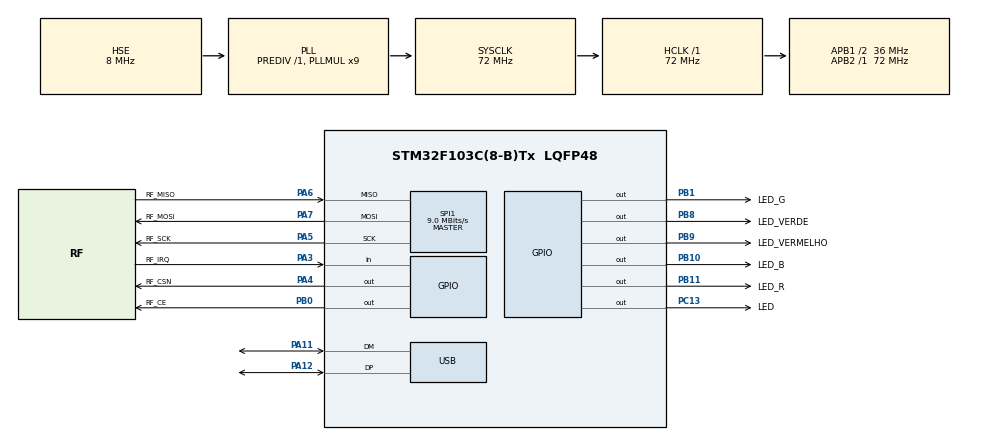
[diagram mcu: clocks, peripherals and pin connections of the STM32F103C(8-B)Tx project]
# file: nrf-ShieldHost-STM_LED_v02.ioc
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Mcu.Family=STM32F1
Mcu.Name=STM32F103C(8-B)Tx
Mcu.Package=LQFP48
NVIC.PriorityGroup=NVIC_PRIORITYGROUP_4
NVIC.USB_LP_CAN1_RX0_IRQn=true\:0\:0\:false\:false\:true\:false\:true
PA11.Mode=Device
PA11.Signal=USB_DM
PA12.Mode=Device
PA12.Signal=USB_DP
PA13.Mode=Serial_Wire
PA13.Signal=SYS_JTMS-SWDIO
PA14.Mode=Serial_Wire
PA14.Signal=SYS_JTCK-SWCLK
PA3.GPIO_Label=RF_IRQ
PA3.Signal=GPIO_Input
PA4.GPIO_Label=RF_CSN
PA4.Signal=GPIO_Output
PA5.GPIO_Label=RF_SCK
PA5.Mode=Full_Duplex_Master
PA5.Signal=SPI1_SCK
PA6.GPIO_Label=RF_MISO
PA6.Mode=Full_Duplex_Master
PA6.Signal=SPI1_MISO
PA7.GPIO_Label=RF_MOSI
PA7.Mode=Full_Duplex_Master
PA7.Signal=SPI1_MOSI
PB0.GPIO_Label=RF_CE
PB0.Signal=GPIO_Output
PB1.GPIO_Label=LED_G
PB1.Signal=GPIO_Output
PB10.GPIO_Label=LED_B
PB10.Signal=GPIO_Output
PB11.GPIO_Label=LED_R
PB11.Signal=GPIO_Output
PB8.GPIO_Label=LED_VERDE
PB8.Signal=GPIO_Output
PB9.GPIO_Label=LED_VERMELHO
PB9.Signal=GPIO_Output
PC13-TAMPER-RTC.GPIO_Label=LED
PC13-TAMPER-RTC.Signal=GPIO_Output
PD0-OSC_IN.Mode=HSE-External-Oscillator
PD0-OSC_IN.Signal=RCC_OSC_IN
PD1-OSC_OUT.Mode=HSE-External-Oscillator
PD1-OSC_OUT.Signal=RCC_OSC_OUT
ProjectManager.HeapSize=0x200
ProjectManager.StackSize=0x400
ProjectManager.TargetToolchain=STM32CubeIDE
RCC.AHBFreq_Value=72000000
RCC.APB1CLKDivider=RCC_HCLK_DIV2
RCC.APB1Freq_Value=36000000
RCC.APB1TimFreq_Value=72000000
RCC.APB2Freq_Value=72000000
RCC.APB2TimFreq_Value=72000000
RCC.HCLKFreq_Value=72000000
RCC.PLLMUL=RCC_PLL_MUL9
RCC.SYSCLKFreq_VALUE=72000000
RCC.SYSCLKSource=RCC_SYSCLKSOURCE_PLLCLK
RCC.USBFreq_Value=48000000
RCC.USBPrescaler=RCC_USBCLKSOURCE_PLL_DIV1_5
SPI1.BaudRatePrescaler=SPI_BAUDRATEPRESCALER_8
SPI1.CalculateBaudRate=9.0 MBits/s
SPI1.Direction=SPI_DIRECTION_2LINES
SPI1.Mode=SPI_MODE_MASTER
SPI1.VirtualType=VM_MASTER
USB_DEVICE.CLASS_NAME_FS=CDC
USB_DEVICE.PRODUCT_STRING_CDC_FS=MIP_RF-SHIELD
USB_DEVICE.VirtualMode=Cdc
USB_DEVICE.VirtualModeFS=Cdc_FS
VP_USB_DEVICE_VS_USB_DEVICE_CDC_FS.Mode=CDC_FS
board=custom

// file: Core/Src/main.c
/* USER CODE BEGIN Header */
/**
  ******************************************************************************
  * @file           : main.c
  * @brief          : Main program body
  ******************************************************************************
  * @attention
  *
  * <h2><center>&copy; Copyright (c) 2019 STMicroelectronics.
  * All rights reserved.</center></h2>
  *
  * This software component is licensed by ST under BSD 3-Clause license,
  * the "License"; You may not use this file except in compliance with the
  * License. You may obtain a copy of the License at:
  *                        opensource.org/licenses/BSD-3-Clause
  *
  ******************************************************************************
  */
/* USER CODE END Header */
#include "main.h"
#include "usb_device.h"

/* USER CODE BEGIN Includes */
#include "usbd_cdc_if.h"
#include "dwt_stm32_delay.h"
#include "ledControl.h"
/* USER CODE END Includes */

/* USER CODE BEGIN PD */
#define nRF_Canal 92
#define NUM_CHARS 256
/* USER CODE END PD */

SPI_HandleTypeDef hspi1;

void SystemClock_Config(void);
static void MX_GPIO_Init(void);
static void MX_SPI1_Init(void);
/* USER CODE BEGIN PFP */

void rfSendBuffer(uint8_t *buffer2send, uint8_t buffer_size);
void get_Msg_fromHost(void);	// Read messages from Host
void tx_task(void);		// Verifies if there is any message from Host and send to MIP
void rx_task(void);		// Receive message from MIP and send to Host
void IRQ_read(void);	// Reads the IRQ pin
void waitForIRQ(void);	// Stop the program until the IRQ pin is read as 0

uint8_t convert2ascii(uint8_t num);	// Test function
void printAscii(uint8_t byte);		// Test function
/* USER CODE END PFP */

/* USER CODE BEGIN 0 */
uint8_t rx_buf[PAYLOAD_WIDTH];
uint8_t rx_payloadWidth = 0;
uint8_t rx_newPayload = 0;
const char endMsgChar = '\0'; 		//Messages ending character (from Host)
uint8_t rf_tx_buffer[NUM_CHARS] = {0};
int rf_tx_buffer_count = 0;
uint8_t rf_tx_SendMsg = 0;
uint8_t rfBridgeON = 0;				// Flag de ponte
uint8_t rx_newData = 0;

uint8_t autoAck_enabled = 1;	// Activates the Auto Acknowledgment function

/* USER CODE END 0 */

int main(void)
{

  /* MCU Configuration--------------------------------------------------------*/

  /* Reset of all peripherals, Initializes the Flash interface and the Systick. */
  HAL_Init();

  /* Configure the system clock */
  SystemClock_Config();

  /* Initialize all configured peripherals */
  MX_GPIO_Init();
  MX_SPI1_Init();
  MX_USB_DEVICE_Init();
  /* USER CODE BEGIN 2 */
  DWT_Delay_Init ();
  init_led(LED_R_Pin, GPIOB, LED_G_Pin, GPIOB,LED_B_Pin, GPIOB);
  acende_led(RED);
  HAL_Delay(500);

  nRFint_guard = 0;		// Do not execute interruptions until the nRF initalization is complete
  rf_tx_buffer_count = 0;
  rf_tx_SendMsg = 0;
  rfBridgeON = 0;   	// Don't transfer data via RF until the Handshake HOST <-> STM is complete

  nRF24L01_STM32(hspi1); // Set the SPI parameters for the nRF library

  // Initiate the nRF with the channel, data rate and tx power parameters
  init(nRF_Canal, RF_DATA_RATE_1Mbps, RF_TX_POWER_0dBm, autoAck_enabled);
  rx_newPayload = 0;
  nRFint_guard = 1; //Liberar execução da interrupção externa
  apaga_led();

  /* USER CODE END 2 */

  /* Infinite loop */
  while (1)
  {

    /* USER CODE BEGIN 3 */
	if(rfBridgeON)
      acende_led(GREEN);
    else
      acende_led(CYAN);

	  get_Msg_fromHost();	// Read the messages from the host received via USB

	  IRQ_read();

	  tx_task();	// If there is message from the Host, read correctly by get_Msg_fromHost(), it's
	  	  	  	  	//  sent to the MIP via RF

	  rx_task();  	// Verifies if package arrived from the MIP (via RF) and send it to the Host via COM port.

  }
  /* USER CODE END 3 */
}

void SystemClock_Config(void)
{
  RCC_OscInitTypeDef RCC_OscInitStruct = {0};
  RCC_ClkInitTypeDef RCC_ClkInitStruct = {0};
  RCC_PeriphCLKInitTypeDef PeriphClkInit = {0};

  /** Initializes the RCC Oscillators according to the specified parameters
  * in the RCC_OscInitTypeDef structure.
  */
  RCC_OscInitStruct.OscillatorType = RCC_OSCILLATORTYPE_HSE;
  RCC_OscInitStruct.HSEState = RCC_HSE_ON;
  RCC_OscInitStruct.HSEPredivValue = RCC_HSE_PREDIV_DIV1;
  RCC_OscInitStruct.HSIState = RCC_HSI_ON;
  RCC_OscInitStruct.PLL.PLLState = RCC_PLL_ON;
  RCC_OscInitStruct.PLL.PLLSource = RCC_PLLSOURCE_HSE;
  RCC_OscInitStruct.PLL.PLLMUL = RCC_PLL_MUL9;
  if (HAL_RCC_OscConfig(&RCC_OscInitStruct) != HAL_OK)
  {
    Error_Handler();
  }
  /** Initializes the CPU, AHB and APB buses clocks
  */
  RCC_ClkInitStruct.ClockType = RCC_CLOCKTYPE_HCLK|RCC_CLOCKTYPE_SYSCLK
                              |RCC_CLOCKTYPE_PCLK1|RCC_CLOCKTYPE_PCLK2;
  RCC_ClkInitStruct.SYSCLKSource = RCC_SYSCLKSOURCE_PLLCLK;
  RCC_ClkInitStruct.AHBCLKDivider = RCC_SYSCLK_DIV1;
  RCC_ClkInitStruct.APB1CLKDivider = RCC_HCLK_DIV2;
  RCC_ClkInitStruct.APB2CLKDivider = RCC_HCLK_DIV1;

  if (HAL_RCC_ClockConfig(&RCC_ClkInitStruct, FLASH_LATENCY_2) != HAL_OK)
  {
    Error_Handler();
  }
  PeriphClkInit.PeriphClockSelection = RCC_PERIPHCLK_USB;
  PeriphClkInit.UsbClockSelection = RCC_USBCLKSOURCE_PLL_DIV1_5;
  if (HAL_RCCEx_PeriphCLKConfig(&PeriphClkInit) != HAL_OK)
  {
    Error_Handler();
  }
}

static void MX_SPI1_Init(void)
{

  /* SPI1 parameter configuration*/
  hspi1.Instance = SPI1;
  hspi1.Init.Mode = SPI_MODE_MASTER;
  hspi1.Init.Direction = SPI_DIRECTION_2LINES;
  hspi1.Init.DataSize = SPI_DATASIZE_8BIT;
  hspi1.Init.CLKPolarity = SPI_POLARITY_LOW;
  hspi1.Init.CLKPhase = SPI_PHASE_1EDGE;
  hspi1.Init.NSS = SPI_NSS_SOFT;
  hspi1.Init.BaudRatePrescaler = SPI_BAUDRATEPRESCALER_8;
  hspi1.Init.FirstBit = SPI_FIRSTBIT_MSB;
  hspi1.Init.TIMode = SPI_TIMODE_DISABLE;
  hspi1.Init.CRCCalculation = SPI_CRCCALCULATION_DISABLE;
  hspi1.Init.CRCPolynomial = 10;
  if (HAL_SPI_Init(&hspi1) != HAL_OK)
  {
    Error_Handler();
  }

}

static void MX_GPIO_Init(void)
{
  GPIO_InitTypeDef GPIO_InitStruct = {0};

  /* GPIO Ports Clock Enable */
  __HAL_RCC_GPIOC_CLK_ENABLE();
  __HAL_RCC_GPIOD_CLK_ENABLE();
  __HAL_RCC_GPIOA_CLK_ENABLE();
  __HAL_RCC_GPIOB_CLK_ENABLE();

  /*Configure GPIO pin Output Level */
  HAL_GPIO_WritePin(LED_GPIO_Port, LED_Pin, GPIO_PIN_RESET);

  /*Configure GPIO pin Output Level */
  HAL_GPIO_WritePin(RF_CSN_GPIO_Port, RF_CSN_Pin, GPIO_PIN_RESET);

  /*Configure GPIO pin Output Level */
  HAL_GPIO_WritePin(GPIOB, RF_CE_Pin|LED_G_Pin|LED_B_Pin|LED_R_Pin
                          |LED_VERDE_Pin|LED_VERMELHO_Pin, GPIO_PIN_RESET);

  /*Configure GPIO pin : LED_Pin */
  GPIO_InitStruct.Pin = LED_Pin;
  GPIO_InitStruct.Mode = GPIO_MODE_OUTPUT_PP;
  GPIO_InitStruct.Pull = GPIO_NOPULL;
  GPIO_InitStruct.Speed = GPIO_SPEED_FREQ_LOW;
  HAL_GPIO_Init(LED_GPIO_Port, &GPIO_InitStruct);

  /*Configure GPIO pin : RF_IRQ_Pin */
  GPIO_InitStruct.Pin = RF_IRQ_Pin;
  GPIO_InitStruct.Mode = GPIO_MODE_INPUT;
  GPIO_InitStruct.Pull = GPIO_NOPULL;
  HAL_GPIO_Init(RF_IRQ_GPIO_Port, &GPIO_InitStruct);

  /*Configure GPIO pin : RF_CSN_Pin */
  GPIO_InitStruct.Pin = RF_CSN_Pin;
  GPIO_InitStruct.Mode = GPIO_MODE_OUTPUT_PP;
  GPIO_InitStruct.Pull = GPIO_NOPULL;
  GPIO_InitStruct.Speed = GPIO_SPEED_FREQ_LOW;
  HAL_GPIO_Init(RF_CSN_GPIO_Port, &GPIO_InitStruct);

  /*Configure GPIO pins : RF_CE_Pin LED_G_Pin LED_B_Pin LED_R_Pin
                           LED_VERDE_Pin LED_VERMELHO_Pin */
  GPIO_InitStruct.Pin = RF_CE_Pin|LED_G_Pin|LED_B_Pin|LED_R_Pin
                          |LED_VERDE_Pin|LED_VERMELHO_Pin;
  GPIO_InitStruct.Mode = GPIO_MODE_OUTPUT_PP;
  GPIO_InitStruct.Pull = GPIO_NOPULL;
  GPIO_InitStruct.Speed = GPIO_SPEED_FREQ_LOW;
  HAL_GPIO_Init(GPIOB, &GPIO_InitStruct);

}

/* USER CODE BEGIN 4 */

/**
 * Função de callback chamada toda vez que ocorre ocorre uma interrupção externa (FALLING) no pino IRQ do nRF.
 * Caso o nRFint_guard permita, ela salva o conteúdo recebido pelo RF, salva no rx_buf e ativa a flag rx_newPayload.
 */
/*
void HAL_GPIO_EXTI_Callback(uint16_t GPIO_Pin)
{
  if(GPIO_Pin == RF_IRQ_Pin)
  {
	  // As interrupções já podem ser tratadas?
	  HAL_GPIO_TogglePin(LED_GPIO_Port, LED_Pin);
	  //HAL_Delay(5);
	  if(nRFint_guard > 0)
		  // Salva o conteúdo em rx_buf, a qte de bytes em rx_payloadWidth e ativa a flag rx_newPayload.
		  RF_IRQ(rx_buf, &rx_payloadWidth, &rx_newPayload);
  }
}*/

void IRQ_read()
{
	//HAL_GPIO_TogglePin(LED_GPIO_Port, LED_Pin);
	if( (nRFint_guard > 0) /*&& (HAL_GPIO_ReadPin(RF_IRQ_GPIO_Port, RF_IRQ_Pin) == 0)*/ )
	{
		//HAL_Delay(5);
		RF_IRQ(rx_buf, &rx_payloadWidth, &rx_newPayload);
	}
}

/**
 * Verifica se algum pacote foi recebido pela interrupção e envia ao Host.
 */
void rx_task()
{
    //Verificar se chegou (recebeu) um novo pacote pelo canal RF.
    //(O MIP enviou um pacote para o HOST).
    if (rx_newPayload > 0)  //newPayload setada em IRQ de chegada de novo pacote (RX)
    {

        rx_newPayload = 0; //sdinalizar payload recebida

        if(rx_payloadWidth > 0) //Se a interrupção foi gerado por algum ruído etc, não teremos dados no payload
        {
          //Enviar pacote recebido para o código do HOST (Visual Studio) via serial COMM (USB)
          acende_led(BLUE);
          CDC_Transmit_FS(rx_buf, rx_payloadWidth);
          //DWT_Delay_us(400); // Delay to give NRf time to transmit the ACK packet
          //HAL_Delay(5);
          RX_Mode();
          apaga_led();
        }

    }
}

/**
 *
 * This function is called every time an amount of data arrives at the serial port by the activation of the
 * rx_newData, which is made by the callback function CDC_Receive_FS.
 * This function verifies if the handshake between the STM and de Host (PC) is already been done. Otherwise,
 * it is done in this function and it activates the rx_tx_SendMsg flag that allows redirectioning the messages from
 * the nRF to the Host. If the handshake its already been done, it reads the message from the host (ended with '\0')
 * via COM port and puts it in the RF transmission buffer to the MIP.
 */
void get_Msg_fromHost()
{

    // The rx_newData variable is modified in the callback function called when new data
	//  comes through the serial port (CDC_Receive_FS)

    //Se não estiver enviando mensagem do Buffer TX para o HOST:
    if ((rx_newData == 1) && (rf_tx_SendMsg == 0))
    {
    	int i, rc;
    	rx_newData = 0;
    	//memcpy(rf_tx_buffer, buf, len); // Salva os dados do vetor buf em rf_tx_buffer
    	//rf_tx_buffer_count = len;		// Salva a qte de bytes de len em rf_tx_buffer_count

    	// Pega o último byte de rf_tx_buffer e salva em rc
        rc = rf_tx_buffer[rf_tx_buffer_count - 1];

        //O último caractere (rc) é o indicador de final de mensagem ('\0')?
        if (rc == endMsgChar)
        {

            //A mensagem termina com '\0' -- terminador de mensagens enviadas pelo HOST;

            //Estamos em fase de handshake initial Host <-> STM?
            if(rfBridgeON)
            {

            	//CDC_Transmit_FS(rf_tx_buffer, rf_tx_buffer_count);
				//HAL_Delay(10);
              //NÃO - Arduino é apenas um ponte entre HOST e Transceiver RF.
              //Portanto, o que chega ao uC deve ser retransmitido ao MIP via RF.
              // ==> Sinalizar execução do estado para transmissão desta msg para o MIP via RF.
              rf_tx_SendMsg = 1;
              return;
            }
            else
            {
            	// HANDSHAKE  HOST <-> STM
                //Esta é a primeira mensagem recebido (contém terminador '\0').
                //
                //1 - Todos os dados que chegarem pela COM para o STM antes da chegada de MIPCOM_READY ("RDY") serão ignorados.
                //      2 - Ao receber o primeiro MIPCOM_READY ("RDY") o STM retorna pela COM para o HOST "RDYOK" - O Host irá
                //          ler ou tentar ler esta mensagem (que pode estar corrompida ou nem mesmo chegar ao Host (C#).
                //
                //Neste primeiro momento, a mensagem em rf_tx_buffer pode conter apenas lixo, conter a mensagem com lixo antes de 'RDY'
                //ou conter apenas "RDY".
                if(rf_tx_buffer_count > 4) //Se conter mais que 4 elementos ['R','D','Y','\0'] remover elementos excedentes no inicio.
                {
                    for(i = 0; i < 4; i++)
                      rf_tx_buffer[i] = rf_tx_buffer[(rf_tx_buffer_count-4) + i];
                    rf_tx_buffer_count = 4;
                }
                //A mensagem é "RDY\0" ?
                if( (rf_tx_buffer[0] == 'R') && (rf_tx_buffer[1] == 'D') && (rf_tx_buffer[2] == 'Y') )
                {
                  //Ecoar para o Host

                	CDC_Transmit_FS(rf_tx_buffer, rf_tx_buffer_count);
                	//HAL_Delay(5);
                  apaga_led();

                  //for(int i = 0; i < 5; i++)
                  //{
                  //  toggle_led(PURPLE);
                  //  HAL_Delay(100);
                  //}

                  rfBridgeON = 1; //De agora em diante, todos os bytes recebidos do Host serão enviados ao MIP por RF.
                  //HAL_GPIO_TogglePin(LED_GPIO_Port, LED_Pin);
                }
                //Caso a mensagem tenha sido enviada para o Host (acima) ou não (deve ser ignorada):
                rf_tx_buffer_count = 0; //reiniciar leitura de novas mensagens;
                rf_tx_SendMsg = 0; //a mensagem recebida não deve ser enviada por RF
            }
        }
    }
}

/**
 * Verifies if there is a message to be transmitted to the MIP via RF and sends it in packages of 32 bytes or less
 */
void tx_task()
{
  uint32_t data_size, index_atual;

  //Transmissão/Recepção de dados via RF liberada? E
  //Existe mensagem para ser enviada para o MIP via RF?
  if ((rfBridgeON == 0) || (rf_tx_SendMsg == 0))
    return;
  data_size = rf_tx_buffer_count;
  rf_tx_buffer_count = 0;

  index_atual = 0;
  while (index_atual < data_size) // Verifica se todos os dados contidos já foram enviados
  {
    toggle_led(YELLOW);
	  uint32_t actual_length = data_size - index_atual;

    //Enquanto tiver algum para escrever
	// Caso a mensagem possua menos, de 32 bytes ele envia apenas os bytes necessários
    if (actual_length < 32)
    {
      //Se existem menos de 32 bytes para serem enviados
      rfSendBuffer(&rf_tx_buffer[index_atual], (uint8_t)actual_length);
      //HAL_Delay(1); //Aguardar transmissão -- max 32 bytes
      waitForIRQ();
      index_atual += actual_length;
    }
    else
    {
      //Se existem pelo menos 32 bytes para serem escritos, escreve um pacote
      rfSendBuffer(&rf_tx_buffer[index_atual], 32);
      waitForIRQ();
      index_atual += 32;
    }

  }
  RX_Mode();	// Só entra em modo RX depois que acaba de enviar os dados
  //Sinalizar mensagem transmitida
  rf_tx_SendMsg = 0;
  apaga_led();
}

//Transmitir um pacote de até 32 bytes pela RF para o MIP

/**
 * Sends the buffer to be transmitted to the transmission function
 *
 * @param buffer2send	Buffer to be sent to the MIP via RF
 * @param buffer_size	Size of buffer to be sent to the MIP via RF
 */
void rfSendBuffer(uint8_t *buffer2send, uint8_t buffer_size)
{
  uint8_t send_index = 0;

  // Escreve no buffer de saída (tx_buf) os bytes a serem enviados
  for (int i = 0; i < buffer_size; i++)
  {
    tx_buf[i] = buffer2send[i];
    send_index += 1;
  }
  //Enviar via RF
  TX_Mode(tx_buf, send_index);
  //HAL_Delay(5);
}

/**
 *
 *
 */
void waitForIRQ()
{
	while(HAL_GPIO_ReadPin(RF_IRQ_GPIO_Port, RF_IRQ_Pin) != 0);
	IRQ_read();
}
/********** TEST FUNCTIONS **********/

uint8_t convert2ascii(uint8_t num)
{
	if(num <= 0x09)
	{
		num = num + 0x30;
	}
	else
	{
		num = num + 0x37;
	}
	return num;
}
void printAscii(uint8_t byte)
{
	uint8_t sta[3];
  sta[0] = ((byte & 0xF0) >> 4); //MSB
  sta[0] = convert2ascii(sta[0]);
  sta[1] = (byte & 0x0F);
  sta[1] = convert2ascii(sta[1]);//LSB
  sta[2] = '\n';

  CDC_Transmit_FS(sta, 3);
  HAL_Delay(10);
}

/* USER CODE END 4 */

void Error_Handler(void)
{
}

/************************ (C) COPYRIGHT STMicroelectronics *****END OF FILE****/
